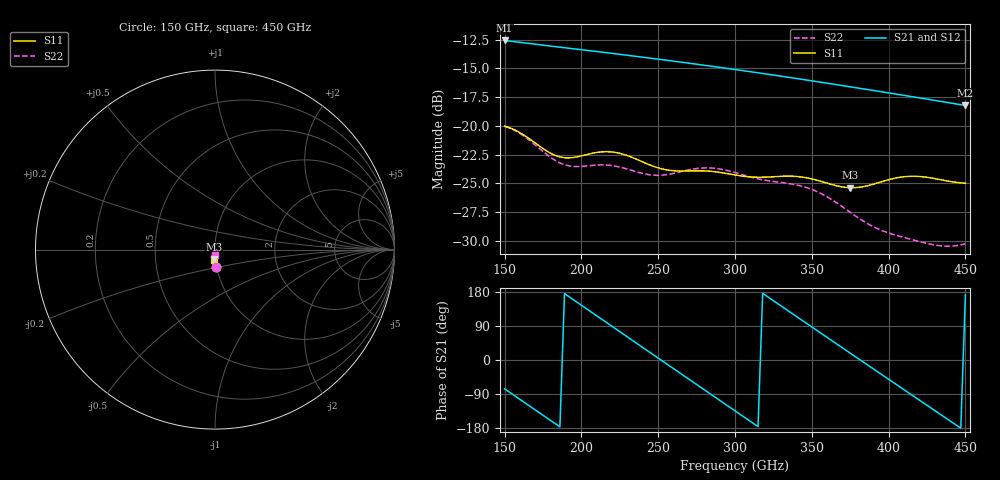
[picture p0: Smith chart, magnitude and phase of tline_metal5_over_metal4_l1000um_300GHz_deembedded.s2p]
! Created with skrf 2.0.1 (http://scikit-rf.org).
# GHz S DB R 50.0
!freq dBS11 angS11 dBS21 angS21 dBS12 angS12 dBS22 angS22
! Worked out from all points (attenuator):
!   101 points, 150 GHz to 450 GHz, reference 50 ohm
!   highest |S21| = -12.57 dB at 150 GHz (marker M1); lowest = -18.2 dB at 450 GHz (marker M2)
!   lowest |S11| = -25.4 dB at 375 GHz (marker M3), VSWR 1.11, Z = 49.2 - j5.29 ohm
!   |S11| at or under -10 dB: start of sweep to end of sweep
!   |S22| runs from -30.5 to -20.0 dB; largest |S21 - S12| = 2.3e-13
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150  -20.02 -87.8  -12.57 -76.1  -12.57 -76.1  -20.04 -87.3
162  -20.76 -92.1  -12.77 -109.6  -12.77 -109.6  -20.84 -92.5
177  -22.15 -92.7  -13.01 -151.4  -13.01 -151.4  -22.44 -94.4
189  -22.77 -88.5  -13.21 175.2  -13.21 175.2  -23.38 -90.7
201  -22.58 -85.8  -13.39 141.7  -13.39 141.7  -23.52 -87.0
213  -22.26 -87.6  -13.58 108.2  -13.58 108.2  -23.39 -87.1
225  -22.39 -91.8  -13.78 74.7  -13.78 74.7  -23.58 -89.3
240  -23.14 -95.1  -14.03 32.9  -14.03 32.9  -24.14 -89.8
252  -23.73 -94.5  -14.24 -0.5  -14.24 -0.5  -24.29 -88.1
264  -23.93 -92.9  -14.45 -34.0  -14.45 -34.0  -24.01 -87.8
276  -23.90 -92.9  -14.66 -67.4  -14.66 -67.4  -23.70 -90.7
288  -24.01 -94.2  -14.88 -100.8  -14.88 -100.8  -23.71 -95.3
300  -24.27 -94.9  -15.10 -134.1  -15.10 -134.1  -24.06 -99.4
312  -24.46 -94.4  -15.33 -167.5  -15.33 -167.5  -24.51 -101.9
324  -24.43 -94.0  -15.56 159.2  -15.56 159.2  -24.82 -103.7
339  -24.39 -95.8  -15.86 117.7  -15.86 117.7  -25.11 -107.4
351  -24.64 -97.6  -16.11 84.4  -16.11 84.4  -25.58 -111.6
375  -25.38 -95.1  -16.61 18.1  -16.61 18.1  -27.52 -116.5
387  -25.18 -92.3  -16.86 -15.0  -16.86 -15.0  -28.55 -114.5
402  -24.62 -92.4  -17.18 -56.3  -17.18 -56.3  -29.40 -109.9
423  -24.44 -97.1  -17.63 -114.0  -17.63 -114.0  -30.16 -103.4
450  -24.99 -98.2  -18.23 171.9  -18.23 171.9  -30.26 -91.0
